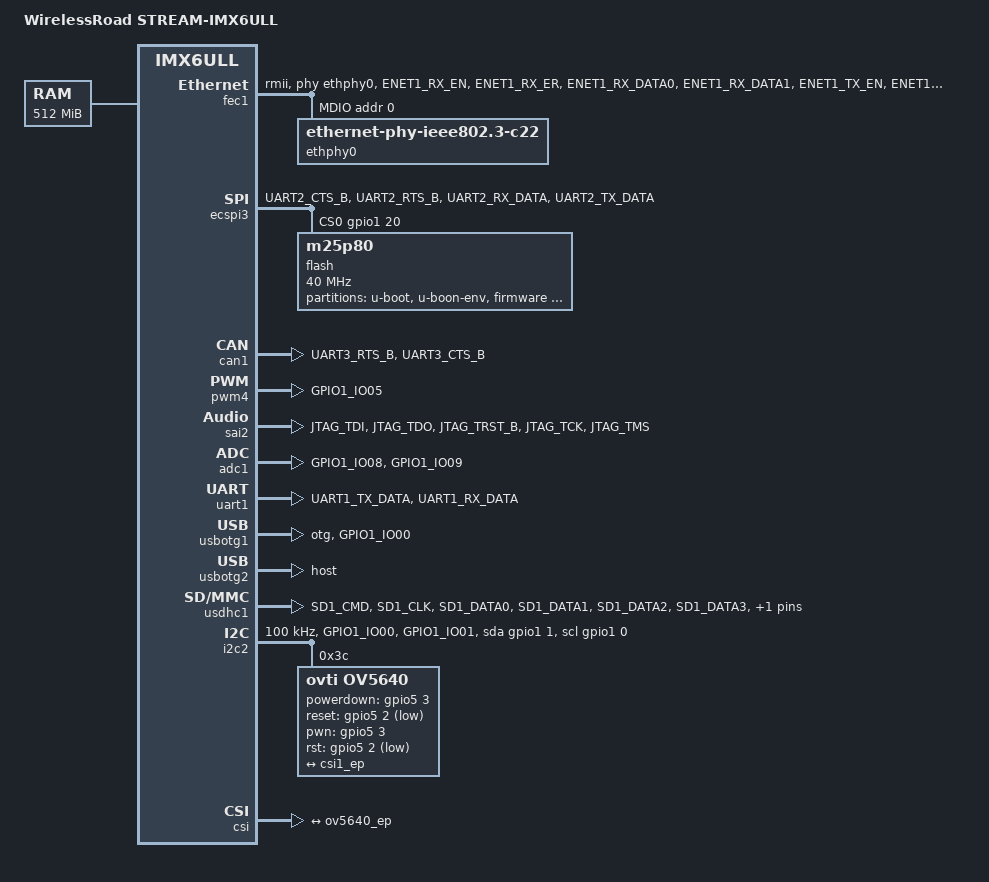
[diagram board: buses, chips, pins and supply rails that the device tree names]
/*
 * Copyright (C) 2016 Freescale Semiconductor, Inc.
 *
 * This program is free software; you can redistribute it and/or modify
 * it under the terms of the GNU General Public License version 2 as
 * published by the Free Software Foundation.
 */

/dts-v1/;

#include <dt-bindings/input/input.h>
#include "imx6ull.dtsi"

/ {
	model = "WirelessRoad STREAM-IMX6ULL";
	compatible = "fsl,imx6ull";

	chosen {
		stdout-path = &uart1;
		bootargs = "console=ttymxc0,115200 rootwait fixrtc quiet";
	};

	memory {
		reg = <0x80000000 0x20000000>;
	};

	aliases {
		cpu0 = &cpu0;
		can1 = &can1;
		can2 = &can2;
		clks = &clks;
		fec1 = &fec1;
		csi = &csi;
		ecspi3 = &ecspi3;
		gpc = &gpc;
		gpmi = &gpmi;
		iomuxc = &iomuxc;
		pwm4 = &pwm4;
		adc1 = &adc1;
		usbotg1 = &usbotg1;
		usbotg2 = &usbotg2;
		usdhc1 = &usdhc1;
		wdog1 = &wdog1;
	};
	
	soc {
		aips3: aips-bus@02200000 {
			compatible = "fsl,aips-bus", "simple-bus";
			#address-cells = <1>;
			#size-cells = <1>;
			reg = <0x02200000 0x100000>;
			ranges;

			dcp: dcp@02280000 {
				compatible = "fsl,imx6sl-dcp";
				reg = <0x02280000 0x4000>;
				interrupts = <GIC_SPI 46 IRQ_TYPE_LEVEL_HIGH>,
					     <GIC_SPI 47 IRQ_TYPE_LEVEL_HIGH>,
					     <GIC_SPI 48 IRQ_TYPE_LEVEL_HIGH>;
				clocks = <&clks IMX6ULL_CLK_DCP_CLK>;
				clock-names = "dcp";
			};

			rngb: rngb@02284000 {
				compatible = "fsl,imx6sl-rng", "fsl,imx-rng", "imx-rng";
				reg = <0x02284000 0x4000>;
				interrupts = <GIC_SPI 6 IRQ_TYPE_LEVEL_HIGH>;
				clocks =  <&clks IMX6UL_CLK_DUMMY>;
			};

			iomuxc_snvs: iomuxc-snvs@02290000 {
				compatible = "fsl,imx6ull-iomuxc-snvs";
				reg = <0x02290000 0x10000>;
				pinctrl-names = "default_snvs";
			};

		};
	};
};

//
//&cpu0 {
//	operating-points = <
//		/* kHz  uV */
//		900000  1275000
//		792000  1225000
//		528000  1175000
//		396000  1025000
//		198000  950000
//	>;
//	fsl,soc-operating-points = <
//		/* KHz  uV */
//		900000  1250000
//		792000  1175000
//		528000  1175000
//		396000  1175000
//		198000  1175000
//	>;
//};


&clks {
	assigned-clocks = <&clks IMX6UL_CLK_PLL4_AUDIO_DIV>;
	assigned-clock-rates = <786432000>;
};

&fec1 {
	pinctrl-names = "default";
	pinctrl-0 = <&pinctrl_enet1>;
	phy-mode = "rmii";
	phy-handle = <&ethphy0>;
	status = "okay";
	mdio {
		#address-cells = <1>;
		#size-cells = <0>;

		ethphy0: ethernet-phy@0 {
			compatible = "ethernet-phy-ieee802.3-c22";
			reg = <0>;
		};

	};
};

&ecspi3 {
	fsl,spi-num-chipselects = <1>;
	cs-gpios = <&gpio1 20 0>;
	pinctrl-names = "default";
	pinctrl-0 = <&pinctrl_ecspi3_0>;
	status = "okay";
	dma-names = "rx", "tx";
	dmas = <&sdma 7 7 1>, <&sdma 8 7 2>;

	flash@0 {
		#address-cells = <1>;
		#size-cells = <1>;
		status = "okay";
		compatible = "m25p80";
		spi-max-frequency = <40000000>;
		reg = <0>;
		partition@0 {
			label = "u-boot";
			reg = <0x000000 0x0c0000>;
		};
		partition@1 {
			label = "u-boon-env";
			reg = <0x0c0000 0x040000>;
		};
		partition@2 {
			label = "firmware";
			reg = <0x100000 0x700000>;
		};
		partition@3 {
			label = "factory";
			reg = <0x000000 0x800000>;
		};
	};
};


&can1 {
	pinctrl-names = "default";
	pinctrl-0 = <&pinctrl_flexcan0>;
	status = "okay";
};


&gpc {
	fsl,cpu_pupscr_sw2iso = <0x1>;
	fsl,cpu_pupscr_sw = <0x0>;
	fsl,cpu_pdnscr_iso2sw = <0x1>;
	fsl,cpu_pdnscr_iso = <0x1>;
	fsl,ldo-bypass = <0>; /* DCDC, ldo-enable */
};

&iomuxc {
	pinctrl-names = "default";
	pinctrl-0 = <&pinctrl_hog_1>;
	imx6ul-evk {
		pinctrl_hog_1: hoggrp-1 {
			fsl,pins = <
				MX6UL_PAD_UART1_RTS_B__GPIO1_IO19	0x17059 /* SD1 CD */
			>;
		};
		
		pinctrl_adc1: adc1grp {
			fsl,pins = <
				MX6UL_PAD_GPIO1_IO08__GPIO1_IO08        0xb0
				MX6UL_PAD_GPIO1_IO09__GPIO1_IO09        0xb0
			>;
		};

		pinctrl_ecspi3_0: ecspi3grp-0 {
			fsl,pins = <
				MX6UL_PAD_UART2_CTS_B__ECSPI3_MOSI	0x110b1
				MX6UL_PAD_UART2_RTS_B__ECSPI3_MISO	0x110b1
				MX6UL_PAD_UART2_RX_DATA__ECSPI3_SCLK	0x110b1
				MX6UL_PAD_UART2_TX_DATA__GPIO1_IO20	0x10b0
			>;
		};

		pinctrl_csi1: csi1grp {
			fsl,pins = <
				MX6UL_PAD_CSI_MCLK__CSI_MCLK            0x1b088
				MX6UL_PAD_CSI_PIXCLK__CSI_PIXCLK        0x1b088
				MX6UL_PAD_CSI_VSYNC__CSI_VSYNC          0x1b088
				MX6UL_PAD_CSI_HSYNC__CSI_HSYNC          0x1b088
				MX6UL_PAD_CSI_DATA00__CSI_DATA02        0x1b088
				MX6UL_PAD_CSI_DATA01__CSI_DATA03        0x1b088
				MX6UL_PAD_CSI_DATA02__CSI_DATA04        0x1b088
				MX6UL_PAD_CSI_DATA03__CSI_DATA05        0x1b088
				MX6UL_PAD_CSI_DATA04__CSI_DATA06        0x1b088
				MX6UL_PAD_CSI_DATA05__CSI_DATA07        0x1b088
				MX6UL_PAD_CSI_DATA06__CSI_DATA08        0x1b088
				MX6UL_PAD_CSI_DATA07__CSI_DATA09        0x1b088
				MX6UL_PAD_SNVS_TAMPER2__GPIO5_IO02      0x10b0
				MX6UL_PAD_SNVS_TAMPER3__GPIO5_IO03      0x10b0
			>;
		};

		pinctrl_i2c2: i2c2grp {
			fsl,pins = <
				MX6UL_PAD_GPIO1_IO00__I2C2_SCL		0x4001b8b0
				MX6UL_PAD_GPIO1_IO01__I2C2_SDA		0x4001b8b0
			>;
		};

		pinctrl_i2c2_gpio: i2c2gpiogrp {
			fsl,pins = <
				MX6UL_PAD_GPIO1_IO00__GPIO1_IO00		0x4001b8b0
				MX6UL_PAD_GPIO1_IO01__GPIO1_IO01		0x4001b8b0
			>;
		};


		pinctrl_usb_otg1_id: usbotg1idgrp {
			fsl,pins = <
				MX6UL_PAD_GPIO1_IO00__ANATOP_OTG1_ID	0x17059
			>;
		};
		
		pinctrl_enet1: enet1grp {
			fsl,pins = <
				MX6UL_PAD_ENET1_RX_EN__ENET1_RX_EN	0x1b0b0
				MX6UL_PAD_ENET1_RX_ER__ENET1_RX_ER	0x1b0b0
				MX6UL_PAD_ENET1_RX_DATA0__ENET1_RDATA00	0x1b0b0
				MX6UL_PAD_ENET1_RX_DATA1__ENET1_RDATA01	0x1b0b0
				MX6UL_PAD_ENET1_TX_EN__ENET1_TX_EN	0x1b0b0
				MX6UL_PAD_ENET1_TX_DATA0__ENET1_TDATA00	0x1b0b0
				MX6UL_PAD_ENET1_TX_DATA1__ENET1_TDATA01	0x1b0b0
				MX6UL_PAD_ENET1_TX_CLK__ENET1_REF_CLK1	0x4001b031
			>;
		};

		pinctrl_flexcan0: flexcan0grp{
			fsl,pins = <
				MX6UL_PAD_UART3_RTS_B__FLEXCAN1_RX	0x1b020
				MX6UL_PAD_UART3_CTS_B__FLEXCAN1_TX	0x1b020
			>;
		};

		pinctrl_pwm4: pwm4grp {
			fsl,pins = <
				MX6UL_PAD_GPIO1_IO05__PWM4_OUT   0x110b0
			>;
		};

		pinctrl_sai2: sai2grp {
			fsl,pins = <
				MX6UL_PAD_JTAG_TDI__SAI2_TX_BCLK	0x17088
				MX6UL_PAD_JTAG_TDO__SAI2_TX_SYNC	0x17088
				MX6UL_PAD_JTAG_TRST_B__SAI2_TX_DATA	0x11088
				MX6UL_PAD_JTAG_TCK__SAI2_RX_DATA	0x11088
				MX6UL_PAD_JTAG_TMS__SAI2_MCLK		0x17088
			>;
		};

		pinctrl_uart1: uart1grp {
			fsl,pins = <
				MX6UL_PAD_UART1_TX_DATA__UART1_DCE_TX 0x1b0b1
				MX6UL_PAD_UART1_RX_DATA__UART1_DCE_RX 0x1b0b1
			>;
		};

		pinctrl_usdhc1: usdhc1grp {
			fsl,pins = <
				MX6UL_PAD_SD1_CMD__USDHC1_CMD     0x17059
				MX6UL_PAD_SD1_CLK__USDHC1_CLK     0x10071
				MX6UL_PAD_SD1_DATA0__USDHC1_DATA0 0x17059
				MX6UL_PAD_SD1_DATA1__USDHC1_DATA1 0x17059
				MX6UL_PAD_SD1_DATA2__USDHC1_DATA2 0x17059
				MX6UL_PAD_SD1_DATA3__USDHC1_DATA3 0x17059
			>;
		};

		pinctrl_usdhc1_100mhz: usdhc1grp100mhz {
			fsl,pins = <
				MX6UL_PAD_SD1_CMD__USDHC1_CMD     0x170b9
				MX6UL_PAD_SD1_CLK__USDHC1_CLK     0x100b9
				MX6UL_PAD_SD1_DATA0__USDHC1_DATA0 0x170b9
				MX6UL_PAD_SD1_DATA1__USDHC1_DATA1 0x170b9
				MX6UL_PAD_SD1_DATA2__USDHC1_DATA2 0x170b9
				MX6UL_PAD_SD1_DATA3__USDHC1_DATA3 0x170b9
			>;
		};

		pinctrl_usdhc1_200mhz: usdhc1grp200mhz {
			fsl,pins = <
				MX6UL_PAD_SD1_CMD__USDHC1_CMD     0x170f9
				MX6UL_PAD_SD1_CLK__USDHC1_CLK     0x100f9
				MX6UL_PAD_SD1_DATA0__USDHC1_DATA0 0x170f9
				MX6UL_PAD_SD1_DATA1__USDHC1_DATA1 0x170f9
				MX6UL_PAD_SD1_DATA2__USDHC1_DATA2 0x170f9
				MX6UL_PAD_SD1_DATA3__USDHC1_DATA3 0x170f9
			>;
		};
		
		pinctrl_wdog: wdoggrp {
			fsl,pins = <
				MX6UL_PAD_LCD_RESET__WDOG1_WDOG_ANY    0x30b0
			>;
		};

	};
};

&pwm4 {
	pinctrl-names = "default";
	pinctrl-0 = <&pinctrl_pwm4>;
	status = "okay";
};


&sai2 {
	pinctrl-names = "default";
	pinctrl-0 = <&pinctrl_sai2>;

	assigned-clocks = <&clks IMX6UL_CLK_SAI2_SEL>,
			  <&clks IMX6UL_CLK_SAI2>;
	assigned-clock-parents = <&clks IMX6UL_CLK_PLL4_AUDIO_DIV>;
	assigned-clock-rates = <0>, <12288000>;

	status = "okay";
};

&adc1 {
	pinctrl-names = "default";
	pinctrl-0 = <&pinctrl_adc1>;
/*	vref-supply = <&reg_vref_3v3>; */
	status = "okay";
};

&uart1 {
	pinctrl-names = "default";
	pinctrl-0 = <&pinctrl_uart1>;
	status = "okay";
};

&usbotg1 {
	dr_mode = "otg";
	srp-disable;
	hnp-disable;
	adp-disable;
	pinctrl-0 = <&pinctrl_usb_otg1_id>;
	disable-over-current;
	status = "okay";
};

&usbotg2 {
	dr_mode = "host";
	disable-over-current;
	status = "okay";
};

&usbphy1 {
	tx-d-cal = <0x5>;
};

&usbphy2 {
	tx-d-cal = <0x5>;
};

&usdhc1 {
	pinctrl-names = "default";
	pinctrl-0 = <&pinctrl_usdhc1>;
	cd-gpios = <&gpio1 19 GPIO_ACTIVE_LOW>;
	keep-power-in-suspend;
	enable-sdio-wakeup;
	status = "okay";
};

&wdog1 {
	pinctrl-names = "default";
	pinctrl-0 = <&pinctrl_wdog>;
	fsl,wdog_b;
};

&i2c2 {
	clock-frequency = <100000>;
	pinctrl-names = "default", "gpio";
	pinctrl-0 = <&pinctrl_i2c2>;
	pinctrl-1 = <&pinctrl_i2c2_gpio>;
	scl-gpios = <&gpio1 0 GPIO_ACTIVE_HIGH>;
	sda-gpios = <&gpio1 1 GPIO_ACTIVE_HIGH>;
	status = "okay";

	ov5640: ov5640@3c {
		compatible = "ovti,ov5640";
		reg = <0x3c>;
		pinctrl-names = "default";
		pinctrl-0 = <&pinctrl_csi1>;
		clocks = <&clks IMX6UL_CLK_CSI>,
			 <&clks IMX6UL_CLK_CSI>;
		clock-names = "csi_mclk", "xclk";
		xclk = <6000000>;
		powerdown-gpios = <&gpio5 3 GPIO_ACTIVE_HIGH>;
		reset-gpios = <&gpio5 2 GPIO_ACTIVE_LOW>;
		pwn-gpios = <&gpio5 3 GPIO_ACTIVE_HIGH>; /* Copy powerdown for csi ov5640 driver */
		rst-gpios = <&gpio5 2 GPIO_ACTIVE_LOW>; /* Copy reset for csi ov5640 driver */
		csi_id = <0>;
		mclk = <12000000>;
		mclk_source = <0>;
		status = "okay";
		port {
			#address-cells = <1>;
			#size-cells = <0>;
			ov5640_ep: endpoint {
				remote-endpoint = <&csi1_ep>;
				clock-lanes = <0>;
				data-lanes = <1 2>;
			};
		};
	};
};

&csi {
	status = "okay";
	port {
		csi1_ep: endpoint {
			remote-endpoint = <&ov5640_ep>;
		};
	};
};
